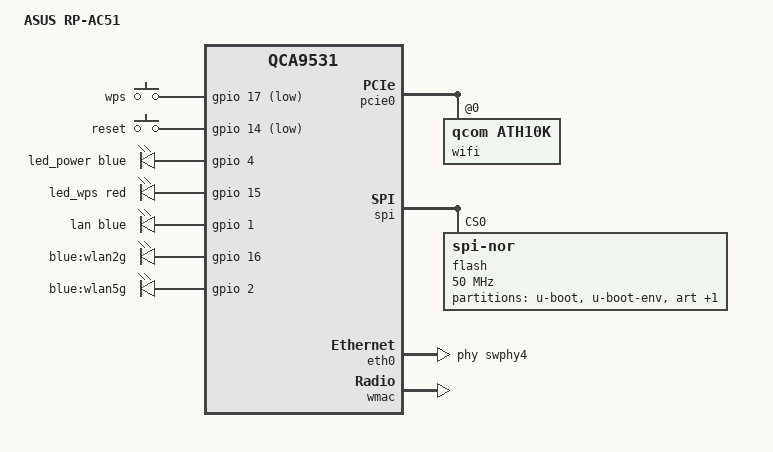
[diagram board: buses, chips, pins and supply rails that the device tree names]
// SPDX-License-Identifier: GPL-2.0-or-later OR MIT

#include "qca953x.dtsi"

#include <dt-bindings/gpio/gpio.h>
#include <dt-bindings/input/input.h>
#include <dt-bindings/leds/common.h>

/ {
	model = "ASUS RP-AC51";
	compatible = "asus,rp-ac51", "qca,qca9531";

	aliases {
		led-boot = &led_wps;
		led-failsafe = &led_wps;
		led-running = &led_wps;
		led-upgrade = &led_wps;
		label-mac-device = &eth0;
	};

	keys {
		compatible = "gpio-keys";

		wps {
			linux,code = <KEY_WPS_BUTTON>;
			gpios = <&gpio 17 GPIO_ACTIVE_LOW>;
			debounce-interval = <60>;
		};

		reset {
			linux,code = <KEY_RESTART>;
			gpios = <&gpio 14 GPIO_ACTIVE_LOW>;
			debounce-interval = <60>;
		};
	};

	leds {
		compatible = "gpio-leds";

		led_power: power {
			function = LED_FUNCTION_POWER;
			color = <LED_COLOR_ID_BLUE>;
			gpios = <&gpio 4 GPIO_ACTIVE_HIGH>;
		};

		led_wps: wps {
			function = LED_FUNCTION_WPS;
			color = <LED_COLOR_ID_RED>;
			gpios = <&gpio 15 GPIO_ACTIVE_HIGH>;
		};

		lan {
			function = LED_FUNCTION_LAN;
			color = <LED_COLOR_ID_BLUE>;
			gpios = <&gpio 1 GPIO_ACTIVE_HIGH>;
		};

		wlan2g {
			label = "blue:wlan2g";
			gpios = <&gpio 16 GPIO_ACTIVE_HIGH>;
		};

		wlan5g {
			label = "blue:wlan5g";
			gpios = <&gpio 2 GPIO_ACTIVE_HIGH>;
		};
	};
};

&pcie0 {
	status = "okay";

	wifi@0,0 {
		compatible = "qcom,ath10k";
		reg = <0x0000 0 0 0 0>;
		nvmem-cells = <&precal_art_5000>;
		nvmem-cell-names = "pre-calibration";
	};
};

&spi {
	status = "okay";

	flash@0 {
		compatible = "jedec,spi-nor";
		reg = <0>;
		spi-max-frequency = <50000000>;

		partitions {
			compatible = "fixed-partitions";
			#address-cells = <1>;
			#size-cells = <1>;

			partition@0 {
				label = "u-boot";
				reg = <0x000000 0x40000>;
				read-only;
			};

			partition@40000 {
				label = "u-boot-env";
				reg = <0x040000 0x10000>;
				read-only;
			};

			art: partition@50000 {
				label = "art";
				reg = <0x050000 0x10000>;
				read-only;

				nvmem-layout {
					compatible = "fixed-layout";
					#address-cells = <1>;
					#size-cells = <1>;

					macaddr_art_0: macaddr@0 {
						reg = <0x0 0x6>;
					};

					macaddr_art_1002: macaddr@1002 {
						reg = <0x1002 0x6>;
					};

					precal_art_5000: pre-calibration@5000 {
						reg = <0x5000 0x2f20>;
					};
				};
			};

			partition@60000 {
				compatible = "denx,uimage";
				label = "firmware";
				reg = <0x060000 0xfa0000>;
			};
		};
	};
};

&eth0 {
	status = "okay";

	phy-handle = <&swphy4>;

	nvmem-cells = <&macaddr_art_0>;
	nvmem-cell-names = "mac-address";
};

&eth1 {
	nvmem-cells = <&macaddr_art_1002>;
	nvmem-cell-names = "mac-address";
};

&wmac {
	status = "okay";

	qca,no-eeprom;
};
